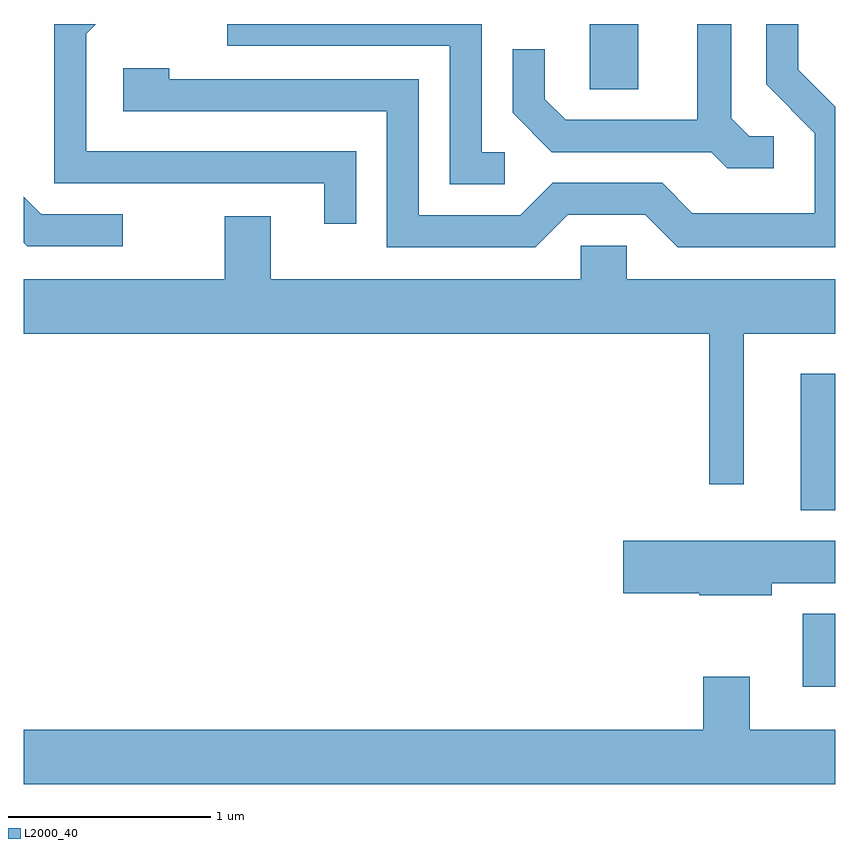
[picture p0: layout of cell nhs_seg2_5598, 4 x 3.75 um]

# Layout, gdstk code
import gdstk
lib = gdstk.Library(unit=1e-6, precision=1e-09)
def R(c, l, rs):  # rectangles x0, y0, x1, y1
    for r in rs: c.add(gdstk.rectangle(r[:2], r[2:], *l))
def P(c, l, *ps):  # polygons
    for p in ps: c.add(gdstk.Polygon(p, *l))
L2000_40 = (2000, 40)

nhs_seg2_5598 = lib.new_cell('nhs_seg2_5598')
R(nhs_seg2_5598, L2000_40, [(353.451,1086.536,353.611,1086.894), (353.441,1087.406,353.611,1088.079), (352.401,1089.481,352.639,1089.802)])
P(nhs_seg2_5598, L2000_40, [(353.308,1089.249),(353.187,1089.249),(353.099,1089.337),(353.099,1089.802),(352.931,1089.802),(352.931,1089.329),(352.282,1089.329),(352.179,1089.432),(352.179,1089.678),(352.021,1089.678),(352.021,1089.364),(352.214,1089.171),(352.999,1089.171),(353.079,1089.091),(353.308,1089.091)],
  [(352.292,1088.861),(352.674,1088.861),(352.834,1088.701),(353.611,1088.701),(353.611,1089.395),(353.429,1089.577),(353.429,1089.802),(353.271,1089.802),(353.271,1089.504),(353.511,1089.264),(353.511,1088.869),(352.907,1088.869),(352.757,1089.019),(352.219,1089.019),(352.059,1088.859),(351.559,1088.859),(351.559,1089.529),(350.329,1089.529),(350.329,1089.584),(350.101,1089.584),(350.101,1089.371),(351.401,1089.371),(351.401,1088.701),(352.132,1088.701)],
  [(351.983,1089.169),(351.869,1089.169),(351.869,1089.802),(350.613,1089.802),(350.613,1089.696),(351.711,1089.696),(351.711,1089.011),(351.983,1089.011)],
  [(351.249,1089.174),(349.919,1089.174),(349.919,1089.754),(349.967,1089.802),(349.761,1089.802),(349.761,1089.016),(351.091,1089.016),(351.091,1088.818),(351.249,1088.818)],
  [(350.098,1088.864),(349.697,1088.864),(349.611,1088.95),(349.611,1088.724),(349.629,1088.706),(350.098,1088.706)],
  [(353.159,1088.276),(353.611,1088.276),(353.611,1088.544),(352.584,1088.544),(352.584,1088.709),(352.356,1088.709),(352.356,1088.544),(350.829,1088.544),(350.829,1088.854),(350.601,1088.854),(350.601,1088.544),(349.611,1088.544),(349.611,1088.276),(352.991,1088.276),(352.991,1087.533),(353.159,1087.533)],
  [(353.299,1087.046),(353.611,1087.046),(353.611,1087.254),(352.566,1087.254),(352.566,1086.996),(352.94,1086.996),(352.94,1086.986),(353.299,1086.986)],
  [(353.611,1086.324),(353.189,1086.324),(353.189,1086.584),(352.961,1086.584),(352.961,1086.324),(349.611,1086.324),(349.611,1086.056),(353.611,1086.056)])

lib.write_gds('nhs_seg2_5598.gds')
